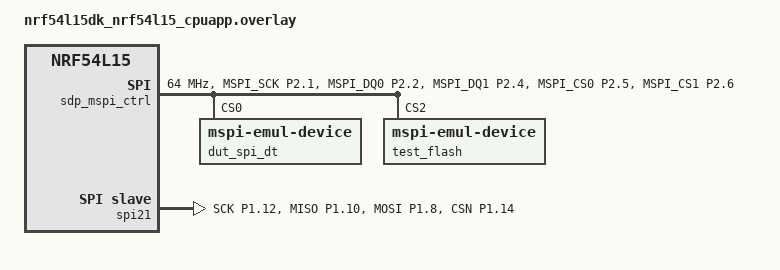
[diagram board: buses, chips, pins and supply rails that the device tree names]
/*
 * Copyright (c) 2025 Nordic Semiconductor ASA
 *
 * SPDX-License-Identifier: LicenseRef-Nordic-5-Clause
 */

&pinctrl {
	sdp_mspi_spi_default: sdp_mspi_spi_default {
		group1 {
			psels = <NRF_PSEL(SDP_MSPI_SCK, 2, 1)>,
				<NRF_PSEL(SDP_MSPI_DQ0, 2, 2)>,
				<NRF_PSEL(SDP_MSPI_DQ1, 2, 4)>,
				<NRF_PSEL(SDP_MSPI_CS0, 2, 5)>,
				<NRF_PSEL(SDP_MSPI_CS1, 2, 6)>;
			nordic,drive-mode = <NRF_DRIVE_S0S1>;
		};
	};
	sdp_mspi_spi_sleep: sdp_mspi_spi_sleep {
		group1 {
			psels = <NRF_PSEL(SDP_MSPI_SCK, 2, 1)>,
				<NRF_PSEL(SDP_MSPI_DQ0, 2, 2)>,
				<NRF_PSEL(SDP_MSPI_DQ1, 2, 4)>,
				<NRF_PSEL(SDP_MSPI_CS0, 2, 5)>,
				<NRF_PSEL(SDP_MSPI_CS1, 2, 6)>;
			low-power-enable;
		};
	};
	spi21_default_alt: spi21_default_alt {
		group1 {
			psels = <NRF_PSEL(SPIS_SCK, 1, 12)>,
				<NRF_PSEL(SPIS_MISO, 1, 10)>,
				<NRF_PSEL(SPIS_MOSI, 1, 8)>,
				<NRF_PSEL(SPIS_CSN, 1, 14)>;
		};
	};

	spi21_sleep_alt: spi21_sleep_alt {
		group1 {
			psels = <NRF_PSEL(SPIS_SCK, 1, 12)>,
				<NRF_PSEL(SPIS_MISO, 1, 10)>,
				<NRF_PSEL(SPIS_MOSI, 1, 8)>,
				<NRF_PSEL(SPIS_CSN, 1, 14)>;
			low-power-enable;
		};
	};

};

&cpuflpr_vpr {
	status = "okay";

	sdp_mspi_ctrl: sdp_mspi_ctrl {
		compatible = "nordic,nrfe-mspi-controller";
		#address-cells = <1>;
		#size-cells = <0>;
		clock-frequency = <DT_FREQ_M(64)>;
		pinctrl-0 = <&sdp_mspi_spi_default>;
		pinctrl-1 = <&sdp_mspi_spi_sleep>;
		pinctrl-names = "default", "sleep";
		status = "okay";

		dut_spi_dt: dut_spi_dt@0 {
			compatible = "zephyr,mspi-emul-device";
			status = "okay";
			reg = <0>;
			mspi-max-frequency = <DT_FREQ_M(16)>;
		};

		test_flash: test_flash@2 {
			compatible = "zephyr,mspi-emul-device";
			status = "okay";
			reg = <0x2>;
			mspi-max-frequency = <DT_FREQ_M(16)>;
		};
	};
};

dut_spis: &spi21 {
	compatible = "nordic,nrf-spis";
	status = "okay";
	def-char = <0x00>;
	pinctrl-0 = <&spi21_default_alt>;
	pinctrl-1 = <&spi21_sleep_alt>;
	pinctrl-names = "default", "sleep";
	/delete-property/rx-delay-supported;
	/delete-property/rx-delay;
};

/ {
	aliases {
		mspi0 = &sdp_mspi_ctrl;
		testdevice0 = &dut_spi_dt;
		testdevice1 = &test_flash;
	};
};
